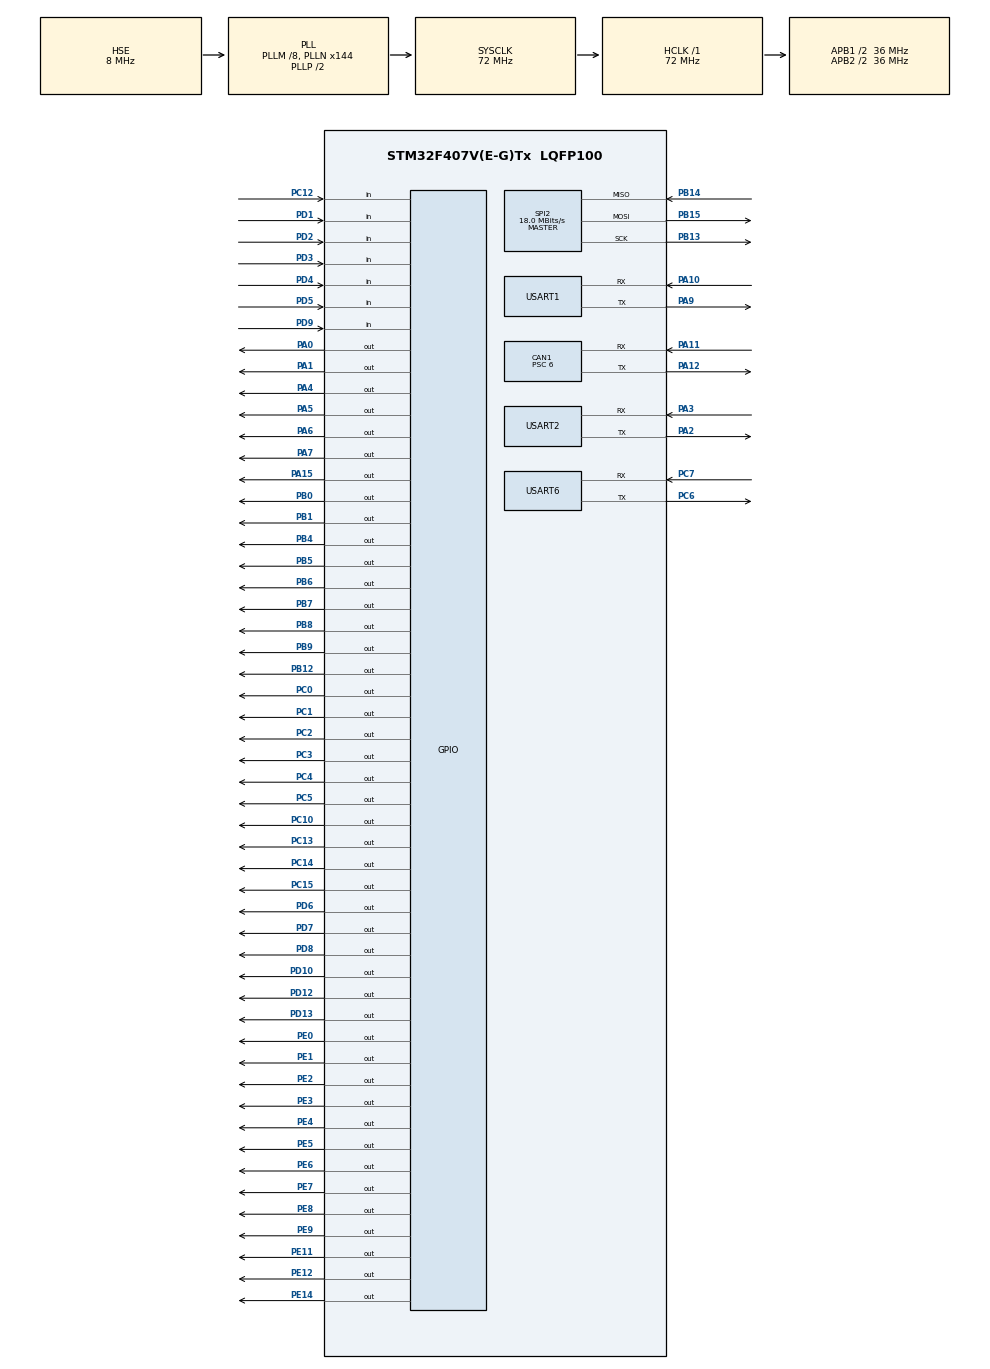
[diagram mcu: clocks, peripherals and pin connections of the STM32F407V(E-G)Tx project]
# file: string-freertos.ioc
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CAN1.BS1=CAN_BS1_5TQ
CAN1.BS2=CAN_BS2_6TQ
CAN1.CalculateTimeBit=2000
CAN1.CalculateTimeQuantum=166.66666666666669
CAN1.Prescaler=6
Dma.Request0=USART1_RX
Dma.Request1=USART6_RX
Dma.Request2=USART2_RX
Dma.USART1_RX.0.Direction=DMA_PERIPH_TO_MEMORY
Dma.USART1_RX.0.FIFOMode=DMA_FIFOMODE_DISABLE
Dma.USART1_RX.0.Instance=DMA2_Stream2
Dma.USART1_RX.0.MemDataAlignment=DMA_MDATAALIGN_BYTE
Dma.USART1_RX.0.MemInc=DMA_MINC_ENABLE
Dma.USART1_RX.0.Mode=DMA_CIRCULAR
Dma.USART1_RX.0.PeriphDataAlignment=DMA_PDATAALIGN_BYTE
Dma.USART1_RX.0.PeriphInc=DMA_PINC_DISABLE
Dma.USART1_RX.0.Priority=DMA_PRIORITY_LOW
Dma.USART2_RX.2.Direction=DMA_PERIPH_TO_MEMORY
Dma.USART2_RX.2.FIFOMode=DMA_FIFOMODE_DISABLE
Dma.USART2_RX.2.Instance=DMA1_Stream5
Dma.USART2_RX.2.MemDataAlignment=DMA_MDATAALIGN_BYTE
Dma.USART2_RX.2.MemInc=DMA_MINC_ENABLE
Dma.USART2_RX.2.Mode=DMA_CIRCULAR
Dma.USART2_RX.2.PeriphDataAlignment=DMA_PDATAALIGN_BYTE
Dma.USART2_RX.2.PeriphInc=DMA_PINC_DISABLE
Dma.USART2_RX.2.Priority=DMA_PRIORITY_LOW
Dma.USART6_RX.1.Direction=DMA_PERIPH_TO_MEMORY
Dma.USART6_RX.1.FIFOMode=DMA_FIFOMODE_DISABLE
Dma.USART6_RX.1.Instance=DMA2_Stream1
Dma.USART6_RX.1.MemDataAlignment=DMA_MDATAALIGN_BYTE
Dma.USART6_RX.1.MemInc=DMA_MINC_ENABLE
Dma.USART6_RX.1.Mode=DMA_CIRCULAR
Dma.USART6_RX.1.PeriphDataAlignment=DMA_PDATAALIGN_BYTE
Dma.USART6_RX.1.PeriphInc=DMA_PINC_DISABLE
Dma.USART6_RX.1.Priority=DMA_PRIORITY_LOW
FREERTOS.BinarySemaphores01=BinarySem_serial,Dynamic,NULL;BinarySem_gprs,Dynamic,NULL;BinarySem_neport,Dynamic,NULL
FREERTOS.CountingSemaphores01=CountingSem_can,3,Dynamic,NULL
FREERTOS.INCLUDE_vTaskDelayUntil=1
FREERTOS.Tasks01=TASK_STATE_LED,-2,128,FUNC_STATE_LED,Default,NULL,Dynamic,NULL,NULL;TASK_SERIAL,-1,128,FUNC_SERIAL,Default,NULL,Dynamic,NULL,NULL;TASK_CAN,0,128,FUNC_CAN,Default,NULL,Dynamic,NULL,NULL;TASK_GPRS,-1,128,FUNC_GPRS,Default,NULL,Dynamic,NULL,NULL;TASK_NEPORT,-1,128,FUNC_NEPORT,Default,NULL,Dynamic,NULL,NULL;TASK_SENSOR_LED,-2,128,FUNC_SENSOR_LED,Default,NULL,Dynamic,NULL,NULL
FREERTOS.configUSE_COUNTING_SEMAPHORES=1
Mcu.Family=STM32F4
Mcu.Name=STM32F407V(E-G)Tx
Mcu.Package=LQFP100
NVIC.DMA1_Stream5_IRQn=true\:5\:0\:true\:false\:true\:true
NVIC.DMA2_Stream1_IRQn=true\:5\:0\:true\:false\:true\:true
NVIC.DMA2_Stream2_IRQn=true\:5\:0\:true\:false\:true\:true
NVIC.PriorityGroup=NVIC_PRIORITYGROUP_4
NVIC.TIM4_IRQn=true\:0\:0\:false\:false\:true\:false
NVIC.TimeBase=TIM4_IRQn
NVIC.TimeBaseIP=TIM4
NVIC.USART1_IRQn=true\:5\:0\:true\:false\:true\:true
NVIC.USART2_IRQn=true\:5\:0\:true\:false\:true\:true
NVIC.USART6_IRQn=true\:5\:0\:true\:false\:true\:true
PA0-WKUP.PinState=GPIO_PIN_SET
PA0-WKUP.Signal=GPIO_Output
PA1.PinState=GPIO_PIN_SET
PA1.Signal=GPIO_Output
PA10.Mode=Asynchronous
PA10.Signal=USART1_RX
PA11.Mode=Master
PA11.Signal=CAN1_RX
PA12.Mode=Master
PA12.Signal=CAN1_TX
PA13.Mode=Trace_Asynchronous_SW
PA13.Signal=SYS_JTMS-SWDIO
PA14.Mode=Trace_Asynchronous_SW
PA14.Signal=SYS_JTCK-SWCLK
PA15.PinState=GPIO_PIN_RESET
PA15.Signal=GPIO_Output
PA2.Mode=Asynchronous
PA2.Signal=USART2_TX
PA3.Mode=Asynchronous
PA3.Signal=USART2_RX
PA4.PinState=GPIO_PIN_SET
PA4.Signal=GPIO_Output
PA5.PinState=GPIO_PIN_SET
PA5.Signal=GPIO_Output
PA6.PinState=GPIO_PIN_SET
PA6.Signal=GPIO_Output
PA7.PinState=GPIO_PIN_SET
PA7.Signal=GPIO_Output
PA9.Mode=Asynchronous
PA9.Signal=USART1_TX
PB0.PinState=GPIO_PIN_SET
PB0.Signal=GPIO_Output
PB1.PinState=GPIO_PIN_SET
PB1.Signal=GPIO_Output
PB12.Signal=GPIO_Output
PB13.Mode=Full_Duplex_Master
PB13.Signal=SPI2_SCK
PB14.Mode=Full_Duplex_Master
PB14.Signal=SPI2_MISO
PB15.Mode=Full_Duplex_Master
PB15.Signal=SPI2_MOSI
PB3.Mode=Trace_Asynchronous_SW
PB3.Signal=SYS_JTDO-SWO
PB4.PinState=GPIO_PIN_SET
PB4.Signal=GPIO_Output
PB5.PinState=GPIO_PIN_SET
PB5.Signal=GPIO_Output
PB6.PinState=GPIO_PIN_SET
PB6.Signal=GPIO_Output
PB7.PinState=GPIO_PIN_SET
PB7.Signal=GPIO_Output
PB8.PinState=GPIO_PIN_SET
PB8.Signal=GPIO_Output
PB9.PinState=GPIO_PIN_SET
PB9.Signal=GPIO_Output
PC0.PinState=GPIO_PIN_SET
PC0.Signal=GPIO_Output
PC1.PinState=GPIO_PIN_SET
PC1.Signal=GPIO_Output
PC10.Signal=GPIO_Output
PC12.Signal=GPIO_Input
PC13-ANTI_TAMP.PinState=GPIO_PIN_SET
PC13-ANTI_TAMP.Signal=GPIO_Output
PC14-OSC32_IN.PinState=GPIO_PIN_SET
PC14-OSC32_IN.Signal=GPIO_Output
PC15-OSC32_OUT.PinState=GPIO_PIN_SET
PC15-OSC32_OUT.Signal=GPIO_Output
PC2.PinState=GPIO_PIN_SET
PC2.Signal=GPIO_Output
PC3.PinState=GPIO_PIN_SET
PC3.Signal=GPIO_Output
PC4.PinState=GPIO_PIN_SET
PC4.Signal=GPIO_Output
PC5.PinState=GPIO_PIN_SET
PC5.Signal=GPIO_Output
PC6.Mode=Asynchronous
PC6.Signal=USART6_TX
PC7.Mode=Asynchronous
PC7.Signal=USART6_RX
PD1.Signal=GPIO_Input
PD10.Signal=GPIO_Output
PD12.Signal=GPIO_Output
PD13.Signal=GPIO_Output
PD2.Signal=GPIO_Input
PD3.Signal=GPIO_Input
PD4.Signal=GPIO_Input
PD5.Signal=GPIO_Input
PD6.PinState=GPIO_PIN_SET
PD6.Signal=GPIO_Output
PD7.PinState=GPIO_PIN_SET
PD7.Signal=GPIO_Output
PD8.Signal=GPIO_Output
PD9.Signal=GPIO_Input
PE0.PinState=GPIO_PIN_SET
PE0.Signal=GPIO_Output
PE1.PinState=GPIO_PIN_SET
PE1.Signal=GPIO_Output
PE11.Signal=GPIO_Output
PE12.Signal=GPIO_Output
PE14.Signal=GPIO_Output
PE2.PinState=GPIO_PIN_SET
PE2.Signal=GPIO_Output
PE3.PinState=GPIO_PIN_SET
PE3.Signal=GPIO_Output
PE4.PinState=GPIO_PIN_SET
PE4.Signal=GPIO_Output
PE5.PinState=GPIO_PIN_SET
PE5.Signal=GPIO_Output
PE6.PinState=GPIO_PIN_SET
PE6.Signal=GPIO_Output
PE7.PinState=GPIO_PIN_SET
PE7.Signal=GPIO_Output
PE8.PinState=GPIO_PIN_SET
PE8.Signal=GPIO_Output
PE9.PinState=GPIO_PIN_SET
PE9.Signal=GPIO_Output
PH0-OSC_IN.Mode=HSE-External-Oscillator
PH0-OSC_IN.Signal=RCC_OSC_IN
PH1-OSC_OUT.Mode=HSE-External-Oscillator
PH1-OSC_OUT.Signal=RCC_OSC_OUT
ProjectManager.HeapSize=0x200
ProjectManager.StackSize=0x400
ProjectManager.TargetToolchain=MDK-ARM V5
RCC.48MHZClocksFreq_Value=36000000
RCC.AHBFreq_Value=72000000
RCC.APB1CLKDivider=RCC_HCLK_DIV2
RCC.APB1Freq_Value=36000000
RCC.APB1TimFreq_Value=72000000
RCC.APB2CLKDivider=RCC_HCLK_DIV2
RCC.APB2Freq_Value=36000000
RCC.APB2TimFreq_Value=72000000
RCC.CortexFreq_Value=72000000
RCC.HCLKFreq_Value=72000000
RCC.HSE_VALUE=8000000
RCC.HSI_VALUE=16000000
RCC.LSE_VALUE=32768
RCC.PLLI2SN=144
RCC.PLLI2SR=4
RCC.PLLM=8
RCC.PLLN=144
RCC.PLLSourceVirtual=RCC_PLLSOURCE_HSE
RCC.SYSCLKFreq_VALUE=72000000
RCC.SYSCLKSource=RCC_SYSCLKSOURCE_PLLCLK
RCC.VCOOutputFreq_Value=144000000
SPI2.BaudRatePrescaler=SPI_BAUDRATEPRESCALER_2
SPI2.CalculateBaudRate=18.0 MBits/s
SPI2.Direction=SPI_DIRECTION_2LINES
SPI2.Mode=SPI_MODE_MASTER
SPI2.VirtualType=VM_MASTER
USART1.VirtualMode=VM_ASYNC
USART2.VirtualMode=VM_ASYNC
USART6.VirtualMode=VM_ASYNC
VP_FREERTOS_VS_ENABLE.Mode=Enabled
VP_SYS_VS_tim4.Mode=TIM4
board=string-freertos

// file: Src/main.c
/**
  ******************************************************************************
  * File Name          : main.c
  * Description        : Main program body
  ******************************************************************************
  * This notice applies to any and all portions of this file
  * that are not between comment pairs USER CODE BEGIN and
  * USER CODE END. Other portions of this file, whether
  * inserted by the user or by software development tools
  * are owned by their respective copyright owners.
  *
  * Copyright (c) 2017 STMicroelectronics International N.V.
  * All rights reserved.
  *
  * Redistribution and use in source and binary forms, with or without
  * modification, are permitted, provided that the following conditions are met:
  *
  * 1. Redistribution of source code must retain the above copyright notice,
  *    this list of conditions and the following disclaimer.
  * 2. Redistributions in binary form must reproduce the above copyright notice,
  *    this list of conditions and the following disclaimer in the documentation
  *    and/or other materials provided with the distribution.
  * 3. Neither the name of STMicroelectronics nor the names of other
  *    contributors to this software may be used to endorse or promote products
  *    derived from this software without specific written permission.
  * 4. This software, including modifications and/or derivative works of this
  *    software, must execute solely and exclusively on microcontroller or
  *    microprocessor devices manufactured by or for STMicroelectronics.
  * 5. Redistribution and use of this software other than as permitted under
  *    this license is void and will automatically terminate your rights under
  *    this license.
  *
  * THIS SOFTWARE IS PROVIDED BY STMICROELECTRONICS AND CONTRIBUTORS "AS IS"
  * AND ANY EXPRESS, IMPLIED OR STATUTORY WARRANTIES, INCLUDING, BUT NOT
  * LIMITED TO, THE IMPLIED WARRANTIES OF MERCHANTABILITY, FITNESS FOR A
  * PARTICULAR PURPOSE AND NON-INFRINGEMENT OF THIRD PARTY INTELLECTUAL PROPERTY
  * RIGHTS ARE DISCLAIMED TO THE FULLEST EXTENT PERMITTED BY LAW. IN NO EVENT
  * SHALL STMICROELECTRONICS OR CONTRIBUTORS BE LIABLE FOR ANY DIRECT, INDIRECT,
  * INCIDENTAL, SPECIAL, EXEMPLARY, OR CONSEQUENTIAL DAMAGES (INCLUDING, BUT NOT
  * LIMITED TO, PROCUREMENT OF SUBSTITUTE GOODS OR SERVICES; LOSS OF USE, DATA,
  * OR PROFITS; OR BUSINESS INTERRUPTION) HOWEVER CAUSED AND ON ANY THEORY OF
  * LIABILITY, WHETHER IN CONTRACT, STRICT LIABILITY, OR TORT (INCLUDING
  * NEGLIGENCE OR OTHERWISE) ARISING IN ANY WAY OUT OF THE USE OF THIS SOFTWARE,
  * EVEN IF ADVISED OF THE POSSIBILITY OF SUCH DAMAGE.
  *
  ******************************************************************************
  */
#include "main.h"
#include "stm32f4xx_hal.h"
#include "cmsis_os.h"

/* USER CODE BEGIN Includes */
#include <string.h>
#include "arm_math.h"
#include "SHT1X.h"
#include "LED.h"
/* USER CODE END Includes */

CAN_HandleTypeDef hcan1;

SPI_HandleTypeDef hspi2;

UART_HandleTypeDef huart1;
UART_HandleTypeDef huart2;
UART_HandleTypeDef huart6;
DMA_HandleTypeDef hdma_usart1_rx;
DMA_HandleTypeDef hdma_usart2_rx;
DMA_HandleTypeDef hdma_usart6_rx;

osThreadId TASK_STATE_LEDHandle;
osThreadId TASK_SERIALHandle;
osThreadId TASK_CANHandle;
osThreadId TASK_GPRSHandle;
osThreadId TASK_NEPORTHandle;
osThreadId TASK_SENSOR_LEDHandle;
osSemaphoreId BinarySem_serialHandle;
osSemaphoreId BinarySem_gprsHandle;
osSemaphoreId BinarySem_neportHandle;
osSemaphoreId CountingSem_canHandle;

/* USER CODE BEGIN PV */
/* Private variables ---------------------------------------------------------*/
TickType_t PreviousWakeTime;
uint8_t serial_rxbuf[BUFFER_SIZE];
uint8_t neport_rxbuf[BUFFER_SIZE];
uint8_t gprs_rxbuf[BUFFER_SIZE];
uint8_t can_txbuf[8] = {1,2,3,4,5,6,7,8};
uint8_t can_rxbuf[5][128];
uint16_t freq_sortbuf[5][SUB_BOARD][16];
uint16_t temp_sortbuf[5][SUB_BOARD][16];
uint8_t can_rxbuf[5][128];

uint8_t serial_rxlen = 0;
uint8_t neport_rxlen = 0;
uint8_t gprs_rxlen = 0;
uint8_t data_to_send[SUB_BOARD][81];
uint8_t main_ID = 0x01;
uint16_t humi_val_i = 0,temp_val_i = 0;
SHT1x sht1x;

uint8_t channel_count = 0;
uint8_t sensor_online[LEDn];
float sensor_frequency[LEDn];
float sensor_temp[LEDn];
extern GPIO_TypeDef* LED_PORT[LEDn];
extern uint16_t LED_PIN[LEDn];

char gprs_connect_str[] = "AT+CIPSTART=\"TCP\",\"xxx.xxx.xxx.xxx\",\"50060\"\r\n";
char gprs_send_str[] = "AT+CIPSEND=81\r\n";
char gprs_disconnect_str[] = "AT+CIPCLOSE\r\n";
char gprs_shut_str[] = "AT+CIPSHUT\r\n";
char gprs_noecho_str[] = "ATE0\r\n";

enum{
	HANDSHAKE = 0,
	CONNECT,
	TCPACK,
	SHUT,
	WAITFORCMD,
	SEND,
	WAITFORSDC
};
uint8_t GPRSSTATE = 0;
uint8_t can_error_flag = 0;

/* USER CODE END PV */

void SystemClock_Config(void);
static void MX_GPIO_Init(void);
static void MX_DMA_Init(void);
static void MX_CAN1_Init(void);
static void MX_SPI2_Init(void);
static void MX_USART1_UART_Init(void);
static void MX_USART2_UART_Init(void);
static void MX_USART6_UART_Init(void);
void FUNC_STATE_LED(void const * argument);
void FUNC_SERIAL(void const * argument);
void FUNC_CAN(void const * argument);
void FUNC_GPRS(void const * argument);
void FUNC_NEPORT(void const * argument);
void FUNC_SENSOR_LED(void const * argument);

/* USER CODE BEGIN PFP */
/* Private function prototypes -----------------------------------------------*/
void data_calc(void);
void get_SHT1x(void);
void get_ID(void);
/* USER CODE END PFP */

/* USER CODE BEGIN 0 */
void data_calc()
{
	int i,s,m,j;
	float count;
	float adc;
	uint16_t frequency, temp;
	float temp_log;
	float A;
	float B;
	float C;

	A = 0.0014051f;
  B = 0.0002369f;
  C = 0.0000001019f;

	for(i = 0;i < SUB_BOARD;i ++)
	{
		data_to_send[i][0] = 0x53;
		data_to_send[i][1] = 0x01;
		data_to_send[i][2] = 0x02;
		data_to_send[i][3] = 0x03;
		data_to_send[i][4] = 0x04;
		data_to_send[i][5] = 0x05;
		data_to_send[i][6] = 0x06;
		data_to_send[i][7] = main_ID + i;

		s=8;

		for(m = 0;m < 2;m ++)
		{
			data_to_send[i][s] = m;s++;
			for(j = 0;j < 8;j ++)
			{
				count = freq_sortbuf[2][i][m * 8 + j]; //can_rxbuf[2][j * 4 + m * 32 + i * 64]*256 + can_rxbuf[2][j * 4 + m * 32 + i * 64 + 1];
				sensor_frequency[channel_count] = 10000000.0f / count;

				adc = temp_sortbuf[2][i][m * 8 + j] * 4.5185f;//(can_rxbuf[2][j * 4 + m * 32 + i * 64 + 2]*256 + can_rxbuf[2][j * 4 + m * 32 + i * 64 + 3])*4.5185f;
				temp_log = log(adc);
				sensor_temp[channel_count] = 1.0f / (A + B * temp_log + C * temp_log * temp_log * temp_log) - 273.2f;

				frequency = (uint16_t)(sensor_frequency[channel_count] * 10.0f);
				temp = (uint16_t)(sensor_temp[channel_count] * 100.0f);

				data_to_send[i][s] = frequency >> 8;s++;
				data_to_send[i][s] = frequency;     s++;
				data_to_send[i][s] = temp >> 8;     s++;
				data_to_send[i][s] = temp;          s++;

				channel_count ++;
			}
		}

		data_to_send[i][s] = 0x00;s++;
		data_to_send[i][s] = 0x00;s++;

		data_to_send[i][s] = sht1x.Humidity>>8;s++;
		data_to_send[i][s] = sht1x.Humidity;s++;

		data_to_send[i][s] = sht1x.Temperature>>8;s++;
		data_to_send[i][s] = sht1x.Temperature;s++;

		data_to_send[i][s]=  'E';s++;
	}
}

void get_SHT1x()
{
	uint8_t error = 0, checksum;
	uint16_t T_Value=0,H_Value=0;

	error+=SHT1x_Measure( &T_Value,&checksum,0);  //measure temperature
  error+=SHT1x_Measure( &H_Value,&checksum,1);  //measure humidity

  if(error != 0)
		SHT1x_Reset(); //通讯故障,复位传感器
  else
  {
		sht1x.T_Result = T_Value;
    sht1x.H_Result = H_Value;
    SHT1X_Caculation1((float*)&sht1x.T_Result, (float*)&sht1x.H_Result );

    sht1x.Temperature=sht1x.T_Result;
    sht1x.Humidity=(uint16_t)sht1x.H_Result;
  }
}

void get_ID()
{
	main_ID = 0;
	if(HAL_GPIO_ReadPin(GPIOD, GPIO_PIN_5) == GPIO_PIN_SET)
		main_ID += 1;
	if(HAL_GPIO_ReadPin(GPIOD, GPIO_PIN_4) == GPIO_PIN_SET)
		main_ID += 2;
	if(HAL_GPIO_ReadPin(GPIOD, GPIO_PIN_3) == GPIO_PIN_SET)
		main_ID += 4;
	if(HAL_GPIO_ReadPin(GPIOD, GPIO_PIN_2) == GPIO_PIN_SET)
		main_ID += 8;
	if(HAL_GPIO_ReadPin(GPIOD, GPIO_PIN_1) == GPIO_PIN_SET)
		main_ID += 16;
}
/* USER CODE END 0 */

int main(void)
{

  /* USER CODE BEGIN 1 */
  uint8_t value = 0;
  /* USER CODE END 1 */

  /* MCU Configuration----------------------------------------------------------*/

  /* Reset of all peripherals, Initializes the Flash interface and the Systick. */
  HAL_Init();

  /* Configure the system clock */
  SystemClock_Config();

  /* Initialize all configured peripherals */
  MX_GPIO_Init();
  MX_DMA_Init();
  MX_CAN1_Init();
  MX_SPI2_Init();
  MX_USART1_UART_Init();
  MX_USART2_UART_Init();
  MX_USART6_UART_Init();

  /* USER CODE BEGIN 2 */
	__HAL_UART_ENABLE_IT(&huart6, UART_IT_IDLE);
	__HAL_UART_ENABLE_IT(&huart2, UART_IT_IDLE);
	__HAL_UART_ENABLE_IT(&huart1, UART_IT_IDLE);
	HAL_GPIO_WritePin(GPIOE, GPIO_PIN_11, GPIO_PIN_SET);

	if(!SHT1X_read_statusreg(&value))
  {
		if(value&0x07)
    {
			for(value=5;value!=0;value--)
      {
				if(!SHT1X_write_statusreg(0)) break;
        else SHT1X_softreset();
      }
    }
  }

	get_ID();

	memset(sensor_online,0,sizeof(sensor_online));
	memset(sensor_frequency,0,sizeof(sensor_frequency));
	memset(sensor_temp,0,sizeof(sensor_temp));
  /* USER CODE END 2 */

  /* Create the semaphores(s) */
  /* definition and creation of BinarySem_serial */
  osSemaphoreDef(BinarySem_serial);
  BinarySem_serialHandle = osSemaphoreCreate(osSemaphore(BinarySem_serial), 1);

  /* definition and creation of BinarySem_gprs */
  osSemaphoreDef(BinarySem_gprs);
  BinarySem_gprsHandle = osSemaphoreCreate(osSemaphore(BinarySem_gprs), 1);

  /* definition and creation of BinarySem_neport */
  osSemaphoreDef(BinarySem_neport);
  BinarySem_neportHandle = osSemaphoreCreate(osSemaphore(BinarySem_neport), 1);

  /* definition and creation of CountingSem_can */
  osSemaphoreDef(CountingSem_can);
  CountingSem_canHandle = osSemaphoreCreate(osSemaphore(CountingSem_can), 3);

  /* USER CODE BEGIN RTOS_SEMAPHORES */
  /* add semaphores, ... */
	xSemaphoreTake(BinarySem_serialHandle,portMAX_DELAY);
	xSemaphoreTake(BinarySem_gprsHandle,portMAX_DELAY);
	xSemaphoreTake(BinarySem_neportHandle,portMAX_DELAY);

	xSemaphoreTake(CountingSem_canHandle,portMAX_DELAY);
	xSemaphoreTake(CountingSem_canHandle,portMAX_DELAY);
	xSemaphoreTake(CountingSem_canHandle,portMAX_DELAY);
  /* USER CODE END RTOS_SEMAPHORES */

  /* Create the thread(s) */
  /* definition and creation of TASK_STATE_LED */
  osThreadDef(TASK_STATE_LED, FUNC_STATE_LED, osPriorityLow, 0, 128);
  TASK_STATE_LEDHandle = osThreadCreate(osThread(TASK_STATE_LED), NULL);

  /* definition and creation of TASK_SERIAL */
  osThreadDef(TASK_SERIAL, FUNC_SERIAL, osPriorityBelowNormal, 0, 128);
  TASK_SERIALHandle = osThreadCreate(osThread(TASK_SERIAL), NULL);

  /* definition and creation of TASK_CAN */
  osThreadDef(TASK_CAN, FUNC_CAN, osPriorityNormal, 0, 128);
  TASK_CANHandle = osThreadCreate(osThread(TASK_CAN), NULL);

  /* definition and creation of TASK_GPRS */
  osThreadDef(TASK_GPRS, FUNC_GPRS, osPriorityBelowNormal, 0, 128);
  TASK_GPRSHandle = osThreadCreate(osThread(TASK_GPRS), NULL);

  /* definition and creation of TASK_NEPORT */
  osThreadDef(TASK_NEPORT, FUNC_NEPORT, osPriorityBelowNormal, 0, 128);
  TASK_NEPORTHandle = osThreadCreate(osThread(TASK_NEPORT), NULL);

  /* definition and creation of TASK_SENSOR_LED */
  osThreadDef(TASK_SENSOR_LED, FUNC_SENSOR_LED, osPriorityLow, 0, 128);
  TASK_SENSOR_LEDHandle = osThreadCreate(osThread(TASK_SENSOR_LED), NULL);

  /* Start scheduler */
  osKernelStart();

  /* We should never get here as control is now taken by the scheduler */

  /* Infinite loop */
  while (1)
  {

  }

}

/** System Clock Configuration
*/
void SystemClock_Config(void)
{

  RCC_OscInitTypeDef RCC_OscInitStruct;
  RCC_ClkInitTypeDef RCC_ClkInitStruct;

    /**Configure the main internal regulator output voltage
    */
  __HAL_RCC_PWR_CLK_ENABLE();

  __HAL_PWR_VOLTAGESCALING_CONFIG(PWR_REGULATOR_VOLTAGE_SCALE1);

    /**Initializes the CPU, AHB and APB busses clocks
    */
  RCC_OscInitStruct.OscillatorType = RCC_OSCILLATORTYPE_HSE;
  RCC_OscInitStruct.HSEState = RCC_HSE_ON;
  RCC_OscInitStruct.PLL.PLLState = RCC_PLL_ON;
  RCC_OscInitStruct.PLL.PLLSource = RCC_PLLSOURCE_HSE;
  RCC_OscInitStruct.PLL.PLLM = 8;
  RCC_OscInitStruct.PLL.PLLN = 144;
  RCC_OscInitStruct.PLL.PLLP = RCC_PLLP_DIV2;
  RCC_OscInitStruct.PLL.PLLQ = 4;
  if (HAL_RCC_OscConfig(&RCC_OscInitStruct) != HAL_OK)
  {
    _Error_Handler(__FILE__, __LINE__);
  }

    /**Initializes the CPU, AHB and APB busses clocks
    */
  RCC_ClkInitStruct.ClockType = RCC_CLOCKTYPE_HCLK|RCC_CLOCKTYPE_SYSCLK
                              |RCC_CLOCKTYPE_PCLK1|RCC_CLOCKTYPE_PCLK2;
  RCC_ClkInitStruct.SYSCLKSource = RCC_SYSCLKSOURCE_PLLCLK;
  RCC_ClkInitStruct.AHBCLKDivider = RCC_SYSCLK_DIV1;
  RCC_ClkInitStruct.APB1CLKDivider = RCC_HCLK_DIV2;
  RCC_ClkInitStruct.APB2CLKDivider = RCC_HCLK_DIV2;

  if (HAL_RCC_ClockConfig(&RCC_ClkInitStruct, FLASH_LATENCY_2) != HAL_OK)
  {
    _Error_Handler(__FILE__, __LINE__);
  }

    /**Configure the Systick interrupt time
    */
  HAL_SYSTICK_Config(HAL_RCC_GetHCLKFreq()/1000);

    /**Configure the Systick
    */
  HAL_SYSTICK_CLKSourceConfig(SYSTICK_CLKSOURCE_HCLK);

  /* SysTick_IRQn interrupt configuration */
  HAL_NVIC_SetPriority(SysTick_IRQn, 15, 0);
}

/* CAN1 init function */
static void MX_CAN1_Init(void)
{

  hcan1.Instance = CAN1;
  hcan1.Init.Prescaler = 6;
  hcan1.Init.Mode = CAN_MODE_NORMAL;
  hcan1.Init.SJW = CAN_SJW_1TQ;
  hcan1.Init.BS1 = CAN_BS1_5TQ;
  hcan1.Init.BS2 = CAN_BS2_6TQ;
  hcan1.Init.TTCM = DISABLE;
  hcan1.Init.ABOM = DISABLE;
  hcan1.Init.AWUM = DISABLE;
  hcan1.Init.NART = DISABLE;
  hcan1.Init.RFLM = DISABLE;
  hcan1.Init.TXFP = DISABLE;
  if (HAL_CAN_Init(&hcan1) != HAL_OK)
  {
    _Error_Handler(__FILE__, __LINE__);
  }

}

/* SPI2 init function */
static void MX_SPI2_Init(void)
{

  hspi2.Instance = SPI2;
  hspi2.Init.Mode = SPI_MODE_MASTER;
  hspi2.Init.Direction = SPI_DIRECTION_2LINES;
  hspi2.Init.DataSize = SPI_DATASIZE_8BIT;
  hspi2.Init.CLKPolarity = SPI_POLARITY_LOW;
  hspi2.Init.CLKPhase = SPI_PHASE_1EDGE;
  hspi2.Init.NSS = SPI_NSS_SOFT;
  hspi2.Init.BaudRatePrescaler = SPI_BAUDRATEPRESCALER_2;
  hspi2.Init.FirstBit = SPI_FIRSTBIT_MSB;
  hspi2.Init.TIMode = SPI_TIMODE_DISABLE;
  hspi2.Init.CRCCalculation = SPI_CRCCALCULATION_DISABLE;
  hspi2.Init.CRCPolynomial = 10;
  if (HAL_SPI_Init(&hspi2) != HAL_OK)
  {
    _Error_Handler(__FILE__, __LINE__);
  }

}

/* USART1 init function */
static void MX_USART1_UART_Init(void)
{

  huart1.Instance = USART1;
  huart1.Init.BaudRate = 115200;
  huart1.Init.WordLength = UART_WORDLENGTH_8B;
  huart1.Init.StopBits = UART_STOPBITS_1;
  huart1.Init.Parity = UART_PARITY_NONE;
  huart1.Init.Mode = UART_MODE_TX_RX;
  huart1.Init.HwFlowCtl = UART_HWCONTROL_NONE;
  huart1.Init.OverSampling = UART_OVERSAMPLING_16;
  if (HAL_UART_Init(&huart1) != HAL_OK)
  {
    _Error_Handler(__FILE__, __LINE__);
  }

}

/* USART2 init function */
static void MX_USART2_UART_Init(void)
{

  huart2.Instance = USART2;
  huart2.Init.BaudRate = 115200;
  huart2.Init.WordLength = UART_WORDLENGTH_8B;
  huart2.Init.StopBits = UART_STOPBITS_1;
  huart2.Init.Parity = UART_PARITY_NONE;
  huart2.Init.Mode = UART_MODE_TX_RX;
  huart2.Init.HwFlowCtl = UART_HWCONTROL_NONE;
  huart2.Init.OverSampling = UART_OVERSAMPLING_16;
  if (HAL_UART_Init(&huart2) != HAL_OK)
  {
    _Error_Handler(__FILE__, __LINE__);
  }

}

/* USART6 init function */
static void MX_USART6_UART_Init(void)
{

  huart6.Instance = USART6;
  huart6.Init.BaudRate = 115200;
  huart6.Init.WordLength = UART_WORDLENGTH_8B;
  huart6.Init.StopBits = UART_STOPBITS_1;
  huart6.Init.Parity = UART_PARITY_NONE;
  huart6.Init.Mode = UART_MODE_TX_RX;
  huart6.Init.HwFlowCtl = UART_HWCONTROL_NONE;
  huart6.Init.OverSampling = UART_OVERSAMPLING_16;
  if (HAL_UART_Init(&huart6) != HAL_OK)
  {
    _Error_Handler(__FILE__, __LINE__);
  }

}

static void MX_DMA_Init(void)
{
  /* DMA controller clock enable */
  __HAL_RCC_DMA2_CLK_ENABLE();
  __HAL_RCC_DMA1_CLK_ENABLE();

  /* DMA interrupt init */
  /* DMA1_Stream5_IRQn interrupt configuration */
  HAL_NVIC_SetPriority(DMA1_Stream5_IRQn, 5, 0);
  HAL_NVIC_EnableIRQ(DMA1_Stream5_IRQn);
  /* DMA2_Stream1_IRQn interrupt configuration */
  HAL_NVIC_SetPriority(DMA2_Stream1_IRQn, 5, 0);
  HAL_NVIC_EnableIRQ(DMA2_Stream1_IRQn);
  /* DMA2_Stream2_IRQn interrupt configuration */
  HAL_NVIC_SetPriority(DMA2_Stream2_IRQn, 5, 0);
  HAL_NVIC_EnableIRQ(DMA2_Stream2_IRQn);

}

/** Configure pins as
        * Analog
        * Input
        * Output
        * EVENT_OUT
        * EXTI
*/
static void MX_GPIO_Init(void)
{

  GPIO_InitTypeDef GPIO_InitStruct;

  /* GPIO Ports Clock Enable */
  __HAL_RCC_GPIOE_CLK_ENABLE();
  __HAL_RCC_GPIOC_CLK_ENABLE();
  __HAL_RCC_GPIOH_CLK_ENABLE();
  __HAL_RCC_GPIOA_CLK_ENABLE();
  __HAL_RCC_GPIOB_CLK_ENABLE();
  __HAL_RCC_GPIOD_CLK_ENABLE();

  /*Configure GPIO pin Output Level */
  HAL_GPIO_WritePin(GPIOE, GPIO_PIN_2|GPIO_PIN_3|GPIO_PIN_4|GPIO_PIN_5
                          |GPIO_PIN_6|GPIO_PIN_7|GPIO_PIN_8|GPIO_PIN_9
                          |GPIO_PIN_0|GPIO_PIN_1, GPIO_PIN_SET);

  /*Configure GPIO pin Output Level */
  HAL_GPIO_WritePin(GPIOC, GPIO_PIN_13|GPIO_PIN_14|GPIO_PIN_15|GPIO_PIN_0
                          |GPIO_PIN_1|GPIO_PIN_2|GPIO_PIN_3|GPIO_PIN_4
                          |GPIO_PIN_5, GPIO_PIN_SET);

  /*Configure GPIO pin Output Level */
  HAL_GPIO_WritePin(GPIOA, GPIO_PIN_0|GPIO_PIN_1|GPIO_PIN_4|GPIO_PIN_5
                          |GPIO_PIN_6|GPIO_PIN_7, GPIO_PIN_SET);

  /*Configure GPIO pin Output Level */
  HAL_GPIO_WritePin(GPIOB, GPIO_PIN_0|GPIO_PIN_1|GPIO_PIN_4|GPIO_PIN_5
                          |GPIO_PIN_6|GPIO_PIN_7|GPIO_PIN_8|GPIO_PIN_9, GPIO_PIN_SET);

  /*Configure GPIO pin Output Level */
  HAL_GPIO_WritePin(GPIOE, GPIO_PIN_11|GPIO_PIN_12|GPIO_PIN_14, GPIO_PIN_RESET);

  /*Configure GPIO pin Output Level */
  HAL_GPIO_WritePin(GPIOB, GPIO_PIN_12, GPIO_PIN_RESET);

  /*Configure GPIO pin Output Level */
  HAL_GPIO_WritePin(GPIOD, GPIO_PIN_8|GPIO_PIN_10|GPIO_PIN_12|GPIO_PIN_13, GPIO_PIN_RESET);

  /*Configure GPIO pin Output Level */
  HAL_GPIO_WritePin(GPIOA, GPIO_PIN_15, GPIO_PIN_RESET);

  /*Configure GPIO pin Output Level */
  HAL_GPIO_WritePin(GPIOC, GPIO_PIN_10, GPIO_PIN_RESET);

  /*Configure GPIO pin Output Level */
  HAL_GPIO_WritePin(GPIOD, GPIO_PIN_6|GPIO_PIN_7, GPIO_PIN_SET);

  /*Configure GPIO pins : PE2 PE3 PE4 PE5
                           PE6 PE7 PE8 PE9
                           PE11 PE12 PE14 PE0
                           PE1 */
  GPIO_InitStruct.Pin = GPIO_PIN_2|GPIO_PIN_3|GPIO_PIN_4|GPIO_PIN_5
                          |GPIO_PIN_6|GPIO_PIN_7|GPIO_PIN_8|GPIO_PIN_9
                          |GPIO_PIN_11|GPIO_PIN_12|GPIO_PIN_14|GPIO_PIN_0
                          |GPIO_PIN_1;
  GPIO_InitStruct.Mode = GPIO_MODE_OUTPUT_PP;
  GPIO_InitStruct.Pull = GPIO_NOPULL;
  GPIO_InitStruct.Speed = GPIO_SPEED_FREQ_LOW;
  HAL_GPIO_Init(GPIOE, &GPIO_InitStruct);

  /*Configure GPIO pins : PC13 PC14 PC15 PC0
                           PC1 PC2 PC3 PC4
                           PC5 PC10 */
  GPIO_InitStruct.Pin = GPIO_PIN_13|GPIO_PIN_14|GPIO_PIN_15|GPIO_PIN_0
                          |GPIO_PIN_1|GPIO_PIN_2|GPIO_PIN_3|GPIO_PIN_4
                          |GPIO_PIN_5|GPIO_PIN_10;
  GPIO_InitStruct.Mode = GPIO_MODE_OUTPUT_PP;
  GPIO_InitStruct.Pull = GPIO_NOPULL;
  GPIO_InitStruct.Speed = GPIO_SPEED_FREQ_LOW;
  HAL_GPIO_Init(GPIOC, &GPIO_InitStruct);

  /*Configure GPIO pins : PA0 PA1 PA4 PA5
                           PA6 PA7 PA15 */
  GPIO_InitStruct.Pin = GPIO_PIN_0|GPIO_PIN_1|GPIO_PIN_4|GPIO_PIN_5
                          |GPIO_PIN_6|GPIO_PIN_7|GPIO_PIN_15;
  GPIO_InitStruct.Mode = GPIO_MODE_OUTPUT_PP;
  GPIO_InitStruct.Pull = GPIO_NOPULL;
  GPIO_InitStruct.Speed = GPIO_SPEED_FREQ_LOW;
  HAL_GPIO_Init(GPIOA, &GPIO_InitStruct);

  /*Configure GPIO pins : PB0 PB1 PB12 PB4
                           PB5 PB6 PB7 PB8
                           PB9 */
  GPIO_InitStruct.Pin = GPIO_PIN_0|GPIO_PIN_1|GPIO_PIN_12|GPIO_PIN_4
                          |GPIO_PIN_5|GPIO_PIN_6|GPIO_PIN_7|GPIO_PIN_8
                          |GPIO_PIN_9;
  GPIO_InitStruct.Mode = GPIO_MODE_OUTPUT_PP;
  GPIO_InitStruct.Pull = GPIO_NOPULL;
  GPIO_InitStruct.Speed = GPIO_SPEED_FREQ_LOW;
  HAL_GPIO_Init(GPIOB, &GPIO_InitStruct);

  /*Configure GPIO pins : PD8 PD10 PD12 PD13
                           PD6 PD7 */
  GPIO_InitStruct.Pin = GPIO_PIN_8|GPIO_PIN_10|GPIO_PIN_12|GPIO_PIN_13
                          |GPIO_PIN_6|GPIO_PIN_7;
  GPIO_InitStruct.Mode = GPIO_MODE_OUTPUT_PP;
  GPIO_InitStruct.Pull = GPIO_NOPULL;
  GPIO_InitStruct.Speed = GPIO_SPEED_FREQ_LOW;
  HAL_GPIO_Init(GPIOD, &GPIO_InitStruct);

  /*Configure GPIO pins : PD9 PD1 PD2 PD3
                           PD4 PD5 */
  GPIO_InitStruct.Pin = GPIO_PIN_9|GPIO_PIN_1|GPIO_PIN_2|GPIO_PIN_3
                          |GPIO_PIN_4|GPIO_PIN_5;
  GPIO_InitStruct.Mode = GPIO_MODE_INPUT;
  GPIO_InitStruct.Pull = GPIO_NOPULL;
  HAL_GPIO_Init(GPIOD, &GPIO_InitStruct);

  /*Configure GPIO pin : PC12 */
  GPIO_InitStruct.Pin = GPIO_PIN_12;
  GPIO_InitStruct.Mode = GPIO_MODE_INPUT;
  GPIO_InitStruct.Pull = GPIO_NOPULL;
  HAL_GPIO_Init(GPIOC, &GPIO_InitStruct);

}

/* FUNC_STATE_LED function */
void FUNC_STATE_LED(void const * argument)
{

  /* USER CODE BEGIN 5 */
	HAL_GPIO_WritePin(GPIOB, GPIO_PIN_4, GPIO_PIN_RESET);
  /* Infinite loop */
  for(;;)
  {
		if(GPRSSTATE & 0x04)
		{
			HAL_GPIO_WritePin(GPIOD, GPIO_PIN_7, GPIO_PIN_RESET);
			osDelay(500);
			HAL_GPIO_WritePin(GPIOD, GPIO_PIN_7, GPIO_PIN_SET);
			osDelay(500);
		}
		else ;
		if(can_error_flag)
		{
			HAL_GPIO_WritePin(GPIOD, GPIO_PIN_6, GPIO_PIN_RESET);
		}
		else
		{
			HAL_GPIO_WritePin(GPIOD, GPIO_PIN_6, GPIO_PIN_SET);
		}
  }
  /* USER CODE END 5 */
}

/* FUNC_SERIAL function */
void FUNC_SERIAL(void const * argument)
{
  /* USER CODE BEGIN FUNC_SERIAL */
	int i;
	BaseType_t pdsem = pdFALSE;
	HAL_UART_Receive_DMA(&huart6,serial_rxbuf,BUFFER_SIZE);
  /* Infinite loop */
  for(;;)
  {
		pdsem = xSemaphoreTake(BinarySem_serialHandle,portMAX_DELAY);

		//HAL_UART_Transmit(&huart1,serial_rxbuf,serial_rxlen,1000); //测试GPRS用，之后记得注掉

		if(pdsem == pdTRUE)
		{
			if(strstr((char *)serial_rxbuf,"REQUEST FOR DATA!") != NULL)
			{
				HAL_GPIO_WritePin(GPIOE, GPIO_PIN_14, GPIO_PIN_SET); // 485发送使能
				xSemaphoreGive(CountingSem_canHandle);
				for(i = 0;i < SUB_BOARD;i ++)
				{
					HAL_UART_Transmit(&huart6,&data_to_send[i][0],81,1000);
				}
				HAL_GPIO_WritePin(GPIOD, GPIO_PIN_7, GPIO_PIN_SET);
				HAL_GPIO_WritePin(GPIOE, GPIO_PIN_14, GPIO_PIN_RESET); // 485接收使能
			}
		}
		HAL_GPIO_WritePin(GPIOE, GPIO_PIN_14, GPIO_PIN_RESET); // 485接收使能
		memset(serial_rxbuf,0,sizeof(serial_rxbuf));
		HAL_UART_Receive_DMA(&huart6,serial_rxbuf,BUFFER_SIZE);
  }
  /* USER CODE END FUNC_SERIAL */
}

/* FUNC_CAN function */
void FUNC_CAN(void const * argument)
{
  /* USER CODE BEGIN FUNC_CAN */
	int i,j,k,x,temp;
	uint8_t *pcan_rxbuf;
	CanTxMsgTypeDef TxMessage;
	CanRxMsgTypeDef RxMessage;
	CAN_FilterConfTypeDef  sFilterConfig;

	hcan1.pTxMsg = &TxMessage;
	hcan1.pRxMsg = &RxMessage;
	sFilterConfig.FilterNumber = 0;
  sFilterConfig.FilterMode = CAN_FILTERMODE_IDMASK;
  sFilterConfig.FilterScale = CAN_FILTERSCALE_32BIT;
  sFilterConfig.FilterIdHigh = 0x0000;
  sFilterConfig.FilterIdLow = 0x0000;
  sFilterConfig.FilterMaskIdHigh = 0x0000;
  sFilterConfig.FilterMaskIdLow = 0x0000;
  sFilterConfig.FilterFIFOAssignment = 0;
  sFilterConfig.FilterActivation = ENABLE;
  sFilterConfig.BankNumber = 14;
  HAL_CAN_ConfigFilter(&hcan1, &sFilterConfig);

	hcan1.pTxMsg->IDE = CAN_ID_STD;
	hcan1.pTxMsg->DLC = 8;
	hcan1.pTxMsg->RTR = CAN_RTR_DATA;
	memcpy(hcan1.pTxMsg->Data,can_txbuf,8);

  /* Infinite loop */
  for(;;)
  {
    xSemaphoreTake(CountingSem_canHandle,portMAX_DELAY);
		HAL_GPIO_WritePin(GPIOD, GPIO_PIN_7, GPIO_PIN_RESET);
		get_SHT1x();
		for(k = 0;k < 5;k ++)
		{
			hcan1.pTxMsg->StdId = 0x01;
			HAL_CAN_Transmit(&hcan1, 1000);
			HAL_Delay(2000);
			pcan_rxbuf = &can_rxbuf[k][0];
			channel_count = 0;
			for(i = 0;i < 2 * SUB_BOARD;i ++)
			{
				hcan1.pTxMsg->StdId = 2 + ((i + 1) << 4);
				HAL_CAN_Transmit(&hcan1, 1000);
				HAL_Delay(10);
				can_error_flag = 0;
				for(j = 0;j < 4;j ++)
				{
					if(HAL_CAN_Receive(&hcan1, CAN_FIFO0,100) == HAL_OK)
					{
						memcpy(pcan_rxbuf + j * 8,hcan1.pRxMsg->Data,8);
					}
					else
					{
						can_error_flag = i + 1;
						break;
					}
				}
				pcan_rxbuf += 32;
			}
			HAL_Delay(500);
		}

		for(k = 0;k < 5;k ++)
		{
			for(i = 0;i < SUB_BOARD;i ++)
			{
					for(j = 0;j < 16;j ++)
					{
						freq_sortbuf[k][i][j] = can_rxbuf[k][j * 4 + i * 64]*256 + can_rxbuf[k][j * 4 + i * 64 + 1];
						temp_sortbuf[k][i][j] = can_rxbuf[k][j * 4 + i * 64 + 2]*256 + can_rxbuf[k][j * 4 + i * 64 + 3];
					}
			}
		}

		for(i = 0;i < SUB_BOARD;i ++)
		{
			for(j = 0;j < 16;j ++)
			{
				for(k = 0;k < 4;k ++)
				{
					for(x = k + 1;x < 5;x ++)
					{
						if(freq_sortbuf[k][i][j] > freq_sortbuf[x][i][j])
						{
							temp = freq_sortbuf[k][i][j];
							freq_sortbuf[k][i][j] = freq_sortbuf[x][i][j];
							freq_sortbuf[x][i][j] = temp;
						}
					}
				}
			}
		}

		data_calc();
		test_sensor();
		memset(can_rxbuf,0,sizeof(can_rxbuf));
  }
  /* USER CODE END FUNC_CAN */
}

/* FUNC_GPRS function */
void FUNC_GPRS(void const * argument)
{
  /* USER CODE BEGIN FUNC_GPRS */
	int send_count = 0, send_flag = 0;
	BaseType_t pdsem = pdFALSE;
	HAL_UART_Receive_DMA(&huart1,gprs_rxbuf,BUFFER_SIZE);
	osDelay(20000);
	HAL_UART_Transmit(&huart1,(uint8_t *)gprs_noecho_str,strlen(gprs_noecho_str),1000);
  /* Infinite loop */
 for(;;)
  {
    pdsem = xSemaphoreTake(BinarySem_gprsHandle,portMAX_DELAY);
		//HAL_UART_Transmit(&huart6,gprs_rxbuf,gprs_rxlen,1000);
		if(pdsem == pdTRUE)
		{
			if((strstr((char *)gprs_rxbuf,"+PDP: DEACT") != NULL) || (strstr((char *)gprs_rxbuf,"CLOSED") != NULL))
			{
				GPRSSTATE = SHUT;
				HAL_UART_Transmit(&huart1,(uint8_t *)gprs_shut_str,strlen(gprs_shut_str),1000);
			}
			else
			{
				switch(GPRSSTATE)
				{
					case CONNECT:
					{
						if(strstr((char *)gprs_rxbuf,"OK") != NULL)
							GPRSSTATE = TCPACK;
						break;
					}
					case TCPACK:
					{
						if(strstr((char *)gprs_rxbuf,"CONNECT OK") || (strstr((char *)gprs_rxbuf,"ALREADY CONNECT") != NULL))
							GPRSSTATE = WAITFORCMD;
						else if(strstr((char *)gprs_rxbuf,"CONNECT FAIL") || (strstr((char *)gprs_rxbuf,"+CME ERROR") != NULL))
						{
							GPRSSTATE = SHUT;
							HAL_UART_Transmit(&huart1,(uint8_t *)gprs_shut_str,strlen(gprs_shut_str),1000);
						}
						break;
					}
					case HANDSHAKE:
					{
						if(strstr((char *)gprs_rxbuf,"ATE0") != NULL)
						{
							GPRSSTATE = CONNECT;
							HAL_UART_Transmit(&huart1,(uint8_t *)gprs_connect_str,strlen(gprs_connect_str),1000);
						}
						break;
					}
					case SHUT:
					{
						osDelay(5000);
						if(strstr((char *)gprs_rxbuf,"SHUT OK") != NULL)
						{
							GPRSSTATE = CONNECT;
							HAL_UART_Transmit(&huart1,(uint8_t *)gprs_connect_str,strlen(gprs_connect_str),1000);
						}
						break;
					}
					case WAITFORCMD:
					{
						if(gprs_rxlen >= 17)
						{
							//if(strstr((char *)gprs_rxbuf,"S") != NULL)
							if(strstr((char *)gprs_rxbuf," ") != NULL)
							{
								xSemaphoreGive(CountingSem_canHandle);
								GPRSSTATE = SEND;
								HAL_UART_Transmit(&huart1,(uint8_t *)gprs_send_str,strlen(gprs_send_str),1000);
								HAL_GPIO_WritePin(GPIOD, GPIO_PIN_7, GPIO_PIN_SET);
							}
						}
						else if(send_flag == 1)
						{
								GPRSSTATE = SEND;
								HAL_UART_Transmit(&huart1,(uint8_t *)gprs_send_str,strlen(gprs_send_str),1000);
								HAL_GPIO_WritePin(GPIOD, GPIO_PIN_7, GPIO_PIN_SET);
						}
						break;
					}
					case SEND:
					{
						if(strstr((char *)gprs_rxbuf,">") != NULL)
						{
							GPRSSTATE = WAITFORSDC;
							HAL_UART_Transmit(&huart1,&data_to_send[send_count][0],81,1000);
							send_count ++;
						}
						break;
					}
					case WAITFORSDC:
					{
						if(strstr((char *)gprs_rxbuf,"SEND OK") != NULL)
						{
							GPRSSTATE = WAITFORCMD;
							if(send_count <  SUB_BOARD)
							{
								osDelay(1000);
								send_flag = 1;
								xSemaphoreGive(BinarySem_gprsHandle);
							}
							else
							{
								send_count = 0;
								send_flag = 0;
							}
						}
						else if((strstr((char *)gprs_rxbuf,"SEND FAIL") != NULL) || (strstr((char *)gprs_rxbuf,"+CME ERROR") != NULL))
						{
							GPRSSTATE = SHUT;
							HAL_UART_Transmit(&huart1,(uint8_t *)gprs_shut_str,strlen(gprs_shut_str),1000);
						}
						break;
					}
					default: break;
				}
			}
		}
		memset(gprs_rxbuf,0,sizeof(gprs_rxbuf));
		HAL_UART_Receive_DMA(&huart1,gprs_rxbuf,BUFFER_SIZE);
  }
  /* USER CODE END FUNC_GPRS */
}

/* FUNC_NEPORT function */
void FUNC_NEPORT(void const * argument)
{
  /* USER CODE BEGIN FUNC_NEPORT */
	int i;
	BaseType_t pdsem = pdFALSE;
	HAL_UART_Receive_DMA(&huart2,neport_rxbuf,BUFFER_SIZE);
  /* Infinite loop */
  for(;;)
  {
    pdsem = xSemaphoreTake(BinarySem_neportHandle,portMAX_DELAY);
		if(pdsem == pdTRUE)
		{
			if(strstr((char *)neport_rxbuf,"REQUEST FOR DATA!") != NULL)
			{
				xSemaphoreGive(CountingSem_canHandle);
				for(i = 0;i < SUB_BOARD;i ++)
				{
					HAL_UART_Transmit(&huart2,&data_to_send[i][0],81,1000);
				}
				HAL_GPIO_WritePin(GPIOD, GPIO_PIN_7, GPIO_PIN_SET);
			}
		}
		memset(neport_rxbuf,0,sizeof(neport_rxbuf));
		HAL_UART_Receive_DMA(&huart2,neport_rxbuf,BUFFER_SIZE);
  }
  /* USER CODE END FUNC_NEPORT */
}

/* FUNC_SENSOR_LED function */
void FUNC_SENSOR_LED(void const * argument)
{
  /* USER CODE BEGIN FUNC_SENSOR_LED */
	int i;
  /* Infinite loop */
	for(;;)
  {
		for(i = 0; i < LEDn; i ++)
		{
			if(sensor_online[i] == 1)
			{
				HAL_GPIO_WritePin(LED_PORT[i], LED_PIN[i], GPIO_PIN_RESET);
			}
			else
			{
				HAL_GPIO_WritePin(LED_PORT[i], LED_PIN[i], GPIO_PIN_SET);
			}
		}
    osDelay(1000);
  }
  /* USER CODE END FUNC_SENSOR_LED */
}

void HAL_TIM_PeriodElapsedCallback(TIM_HandleTypeDef *htim)
{
  if (htim->Instance == TIM4) {
    HAL_IncTick();
  }
}

void _Error_Handler(char * file, int line)
{
  /* USER CODE BEGIN Error_Handler_Debug */
	HAL_GPIO_WritePin(GPIOD, GPIO_PIN_6, GPIO_PIN_RESET);
	return ;
  /* User can add his own implementation to report the HAL error return state */
  while(1)
  {
  }
  /* USER CODE END Error_Handler_Debug */
}

/************************ (C) COPYRIGHT STMicroelectronics *****END OF FILE****/
